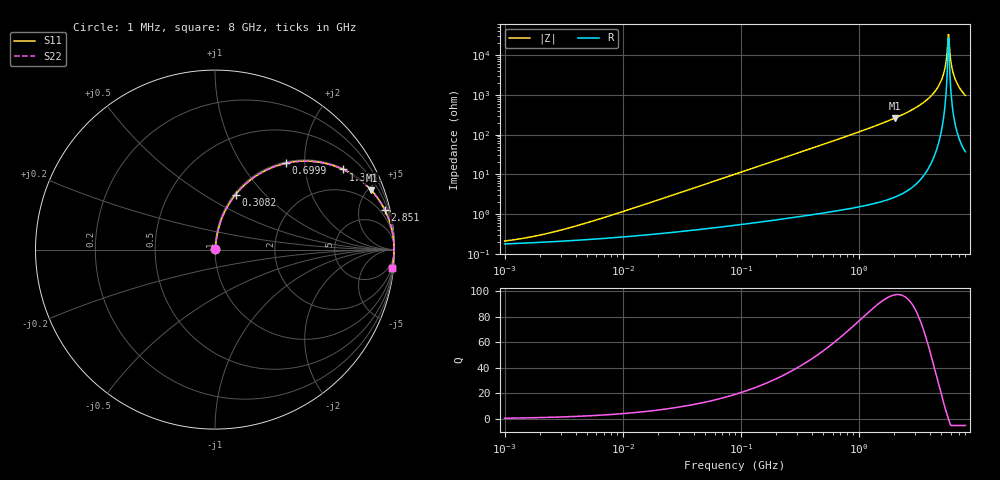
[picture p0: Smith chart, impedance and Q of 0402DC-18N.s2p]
# MHz  S  MA  R  50
!Freq  MagS11  AngS11  MagS21  AngS21  MagS12  AngS12  MagS22  AngS22
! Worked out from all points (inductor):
!   801 points, 1 MHz to 8 GHz, reference 50 ohm
!   read as one part in series: L = 18 nH near 6.458 MHz
!   highest Q = 97.1 at 2.035 GHz (marker M1), where L = 20.6 nH
!   self-resonance near 5.723 GHz
!   S11 on the Smith chart (normalised r, x): 1 MHz: 1.00, +0.00; 308.2 MHz: 1.02, +0.70; 699.9 MHz: 1.03, +1.61; 1.328 GHz: 1.04, +3.17; 2.851 GHz: 1.10, +8.55; 8 GHz: 2, -19
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1  0.002113 32.2  0.9982 -0.1  0.9982 -0.1  0.002113 32.2
4.507347  0.005559 65.9  0.9977 -0.3  0.9977 -0.3  0.005559 65.9
20.08917  0.02287 80.6  0.9965 -1.3  0.9965 -1.3  0.02287 80.6
89.53707  0.1004 81.3  0.9898 -5.8  0.9898 -5.8  0.1004 81.3
308.1795  0.3276 69.5  0.9368 -19.1  0.9368 -19.1  0.3276 69.5
403.5746  0.4137 64.4  0.9017 -24.4  0.9017 -24.4  0.4137 64.4
699.9133  0.6217 50.7  0.7736 -38.4  0.7736 -38.4  0.6217 50.7
1328.02  0.8416 32.0  0.5305 -57.3  0.5305 -57.3  0.8416 32.0
1798.725  0.9106 23.8  0.4039 -65.6  0.4039 -65.6  0.9106 23.8
2035.377  0.9316 20.7  0.3541 -68.7  0.3541 -68.7  0.9316 20.7
2851.315  0.9713 13.1  0.2272 -76.2  0.2272 -76.2  0.9713 13.1
3861.938  0.9901 7.2  0.1246 -81.9  0.1246 -81.9  0.9901 7.2
4674.826  0.9958 3.7  0.06408 -84.4  0.06408 -84.4  0.9958 3.7
5172.321  0.9972 1.9  0.03283 -84.1  0.03283 -84.1  0.9972 1.9
5349.652  0.9974 1.3  0.0225 -82.7  0.0225 -82.7  0.9974 1.3
5595.586  0.9975 0.5  0.008932 -73.6  0.008932 -73.6  0.9975 0.5
5722.761  0.9975 0.1  0.003026 -34.1  0.003026 -34.1  0.9975 0.1
5918.963  0.9974 -0.5  0.009012 72.8  0.009012 72.8  0.9974 -0.5
6261.028  0.9969 -1.5  0.02601 82.4  0.02601 82.4  0.9969 -1.5
6622.861  0.9961 -2.5  0.04325 83.6  0.04325 83.6  0.9961 -2.5
7245.79  0.9941 -4.1  0.07108 83.2  0.07108 83.2  0.9941 -4.1
8000  0.9909 -5.9  0.1022 82.0  0.1022 82.0  0.9909 -5.9
